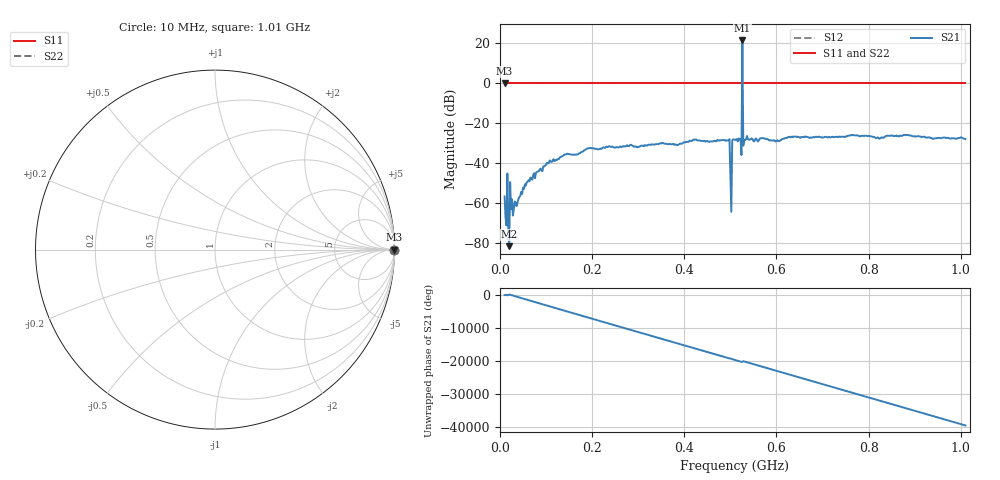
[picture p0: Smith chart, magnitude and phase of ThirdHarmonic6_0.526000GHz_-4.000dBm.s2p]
! 8/15/2025 4:16:32 PM
! C:\ANRITSUVNA\TEMP\TEMP.S2P
! CHANNEL.1
! TR.MEASUREMENT
! RAW.DATA
! RF.CORRECTION.OFF
! AVERAGING.OFF
! IF.BANDWIDTH: 5KHZ
! SWEEPTYPE:  FREQ.SWEEP(Linear)
! Reference Plane Port Info
! PORT:  PORT1  PORT2
! DISTANCE:  0  m  0  m
! TIME:  0  s  0  s
! PHASE.OFFSET:  0  deg.  0  deg.
! LOSS:  0  dB  0  dB
! REF.LOSS:  0  dB  0  dB
! REF.FREQ:  0  Hz  0  Hz
! Power Info
! POWER:  -20  dBm  -20  dBm
! EFF.POWER:  -20  dBm  -20  dBm
! SOURCE.ATTEN:  0  dB  0  dB
! TEST.ATTEN:  0  dB  0  dB
# GHZ S RI R 50.0
! FREQ.GHZ  S11RE  S11IM  S21RE  S21IM  S12RE  S12IM  S22RE  S22IM
!; PortSelection: Port_12
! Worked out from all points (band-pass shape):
!   501 points, 10 MHz to 1.01 GHz, reference 50 ohm
!   highest |S21| = 21.45 dB at 526 MHz (marker M1); lowest = -81.7 dB at 20 MHz (marker M2)
!   |S21| within 3 dB of the highest: 525.8956 MHz to 526.1138 MHz (218.2 kHz wide, 0.0415 % of centre)
!   lowest |S11| = 0.0 dB at 10 MHz (marker M3)
!   |S11| at or under -10 dB: nowhere
!   |S22| runs from 0.0 to 0.0 dB; largest |S21 - S12| = 11
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0.01  1 0  0.00106 -0.000983  1 0  1 0
0.012  1 0  0.000422 -7.35e-05  1 0  1 0
0.016  1 0  -0.0035 -0.00418  1 0  1 0
0.02  1 0  -4.14e-05 7.11e-05  1 0  1 0
0.022  1 0  0.000972 0.00318  1 0  1 0
0.104  1 0  0.0054 -0.00816  1 0  1 0
0.178  1 0  -0.0189 -0.00299  1 0  1 0
0.344  1 0  0.028 -0.00956  1 0  1 0
0.494  1 0  0.0123 0.0347  1 0  1 0
0.498  1 0  0.00125 -0.0396  1 0  1 0
0.5  1 0  -0.00145 -0.00415  1 0  1 0
0.504  1 0  0.0321 0.0191  1 0  1 0
0.508  1 0  -0.0265 -0.0288  1 0  1 0
0.51  1 0  -0.0317 0.0206  1 0  1 0
0.52  1 0  -0.0105 0.0372  1 0  1 0
0.522  1 0  0.0368 0.0164  1 0  1 0
0.526  1 0  10.03 -6.248  1 0  1 0
0.53  1 0  0.0181 0.034  1 0  1 0
0.532  1 0  0.0358 -0.0114  1 0  1 0
0.678  1 0  -0.028 -0.0338  1 0  1 0
0.844  1 0  0.042 0.0232  1 0  1 0
1.01  1 0  -0.0398 0.001  1 0  1 0
